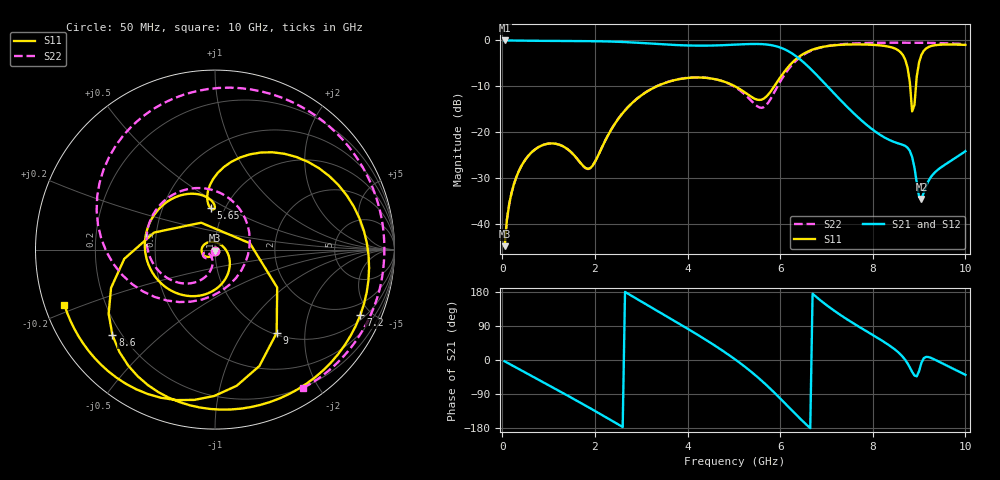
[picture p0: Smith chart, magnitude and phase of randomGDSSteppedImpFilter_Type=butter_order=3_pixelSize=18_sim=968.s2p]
! freq	dB(S11)	phase(S11)	dB(S12)	phase(S12)
!  dB(S21)	phase(S21)	dB(S22)	phase(S22)
!S-par simulation data
#  GHz  S  DB  R 50
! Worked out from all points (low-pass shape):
!   200 points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, 50 MHz to 10 GHz, reference 50 ohm
!   highest |S21| = -0.01 dB at 50 MHz (marker M1); lowest = -34.6 dB at 9.05 GHz (marker M2)
!   |S21| within 3 dB of the highest: start of sweep to 6.282 GHz
!   lowest |S11| = -44.9 dB at 50 MHz (marker M3), VSWR 1.01, Z = 50 - j0.57 ohm
!   |S11| at or under -10 dB: start of sweep to 3.338 GHz; 5.023 GHz to 5.874 GHz (850.5 MHz wide, 15.6 % of centre); 8.807 GHz to 8.933 GHz (125.4 MHz wide, 1.41 % of centre)
!   |S22| runs from -44.9 to -0.5 dB; largest |S21 - S12| = 0
!   S11 on the Smith chart (normalised r, x): 50 MHz: 1.00, -0.01; 5.65 GHz: 0.86, +0.42; 7.2 GHz: 1.25, -4.30; 8.6 GHz: 0.17, -0.35; 9 GHz: 1.03, -1.44; 10 GHz: 0.06, -0.18
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0.05  -44.88 -89.6  -0.01 -3.4  -0.01 -3.4  -44.87 -88.9
0.25  -31.39 -107.9  -0.03 -16.7  -0.03 -16.7  -31.37 -104.3
0.6  -24.75 -135.2  -0.07 -39.9  -0.07 -39.9  -24.74 -125.6
1.2  -22.65 175.0  -0.12 -79.8  -0.12 -79.8  -22.66 -156.5
1.75  -27.42 95.4  -0.15 -117.1  -0.15 -117.1  -27.47 -151.3
2.6  -15.86 -65.5  -0.34 -176.8  -0.34 -176.8  -15.81 -109.7
3.4  -9.72 -132.9  -0.81 125.8  -0.81 125.8  -9.68 -156.3
4.2  -8.08 165.7  -1.14 67.9  -1.14 67.9  -8.04 150.3
5.05  -10.14 103.2  -0.91 -0.4  -0.91 -0.4  -10.33 78.6
5.65  -12.68 96.2  -0.83 -60.1  -0.83 -60.1  -14.55 -38.6
6.25  -4.95 69.9  -2.79 -132.6  -2.79 -132.6  -5.40 -164.9
6.7  -2.00 22.3  -6.63 174.8  -6.63 174.8  -2.12 138.9
7.2  -1.03 -24.3  -11.93 127.3  -11.93 127.3  -0.96 92.6
7.8  -0.89 -70.1  -17.84 80.6  -17.84 80.6  -0.58 50.2
8.35  -1.37 -111.7  -21.68 39.2  -21.68 39.2  -0.50 18.5
8.6  -2.57 -140.2  -22.62 14.6  -22.62 14.6  -0.50 5.5
8.75  -5.88 -174.2  -23.38 -8.8  -23.38 -8.8  -0.50 -1.8
8.85  -15.47 117.2  -25.43 -31.2  -25.43 -31.2  -0.50 -6.6
9  -4.77 -53.5  -34.15 -29.4  -34.15 -29.4  -0.51 -13.7
9.05  -3.17 -69.2  -34.61 -7.5  -34.61 -7.5  -0.51 -16.1
9.45  -0.94 -123.7  -27.86 -5.8  -27.86 -5.8  -0.59 -34.1
10  -0.98 -159.8  -24.16 -39.2  -24.16 -39.2  -0.78 -57.5
